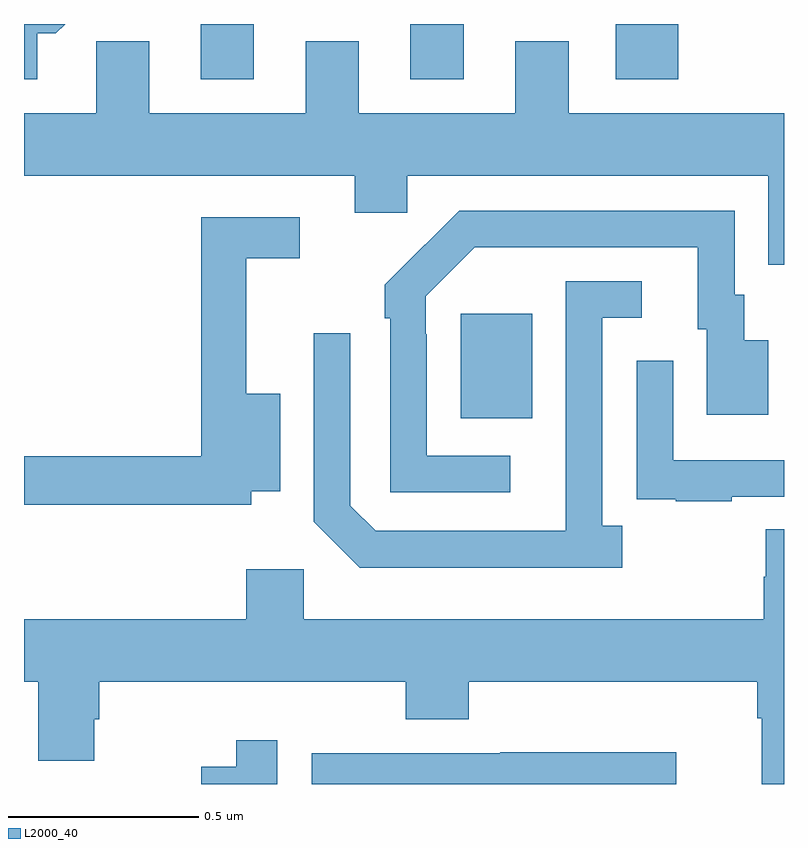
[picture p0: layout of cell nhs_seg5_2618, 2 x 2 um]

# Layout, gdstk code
import gdstk
lib = gdstk.Library(unit=1e-6, precision=1e-09)
def R(c, l, rs):  # rectangles x0, y0, x1, y1
    for r in rs: c.add(gdstk.rectangle(r[:2], r[2:], *l))
def P(c, l, *ps):  # polygons
    for p in ps: c.add(gdstk.Polygon(p, *l))
L2000_40 = (2000, 40)

nhs_seg5_2618 = lib.new_cell('nhs_seg5_2618')
R(nhs_seg5_2618, L2000_40, [(147.149,882.761,147.337,883.036), (146.465,883.653,146.605,883.799), (147.017,883.653,147.157,883.799), (147.557,883.653,147.722,883.799)])
P(nhs_seg5_2618, L2000_40, [(146.035,883.775),(146.084,883.775),(146.108,883.799),(146,883.799),(146,883.653),(146.035,883.653)],
  [(148,883.564),(147.433,883.564),(147.433,883.754),(147.293,883.754),(147.293,883.564),(146.881,883.564),(146.881,883.754),(146.741,883.754),(146.741,883.564),(146.329,883.564),(146.329,883.754),(146.19,883.754),(146.19,883.564),(146,883.564),(146,883.4),(146.87,883.4),(146.87,883.302),(147.009,883.302),(147.009,883.4),(147.959,883.4),(147.959,883.165),(148,883.165)],
  [(147.28,882.663),(147.06,882.663),(147.06,882.983),(147.057,882.983),(147.057,883.083),(147.186,883.212),(147.773,883.212),(147.773,882.996),(147.797,882.996),(147.797,882.771),(147.958,882.771),(147.958,882.967),(147.895,882.967),(147.895,883.086),(147.87,883.086),(147.87,883.308),(147.146,883.308),(147.055,883.217),(147.054,883.218),(146.949,883.113),(146.949,883.025),(146.964,883.025),(146.964,882.567),(147.28,882.567)],
  [(146.598,882.569),(146.674,882.569),(146.674,882.826),(146.585,882.826),(146.585,883.182),(146.725,883.182),(146.725,883.29),(146.467,883.29),(146.467,882.662),(146,882.662),(146,882.534),(146.598,882.534)],
  [(147.574,882.478),(147.522,882.478),(147.522,883.026),(147.625,883.026),(147.625,883.122),(147.426,883.122),(147.426,882.665),(147.425,882.665),(147.425,882.465),(146.925,882.465),(146.859,882.531),(146.859,882.985),(146.763,882.985),(146.763,882.489),(146.884,882.368),(147.574,882.368)],
  [(147.863,882.555),(148,882.555),(148,882.651),(147.708,882.651),(147.708,882.913),(147.612,882.913),(147.612,882.658),(147.613,882.658),(147.613,882.549),(147.715,882.549),(147.715,882.543),(147.863,882.543)],
  [(148,882.47),(147.952,882.47),(147.952,882.345),(147.947,882.345),(147.947,882.232),(146.736,882.232),(146.736,882.364),(146.585,882.364),(146.585,882.232),(146,882.232),(146,882.068),(146.038,882.068),(146.038,881.86),(146.185,881.86),(146.185,881.97),(146.198,881.97),(146.198,882.068),(147.005,882.068),(147.005,881.969),(147.17,881.969),(147.17,882.068),(147.929,882.068),(147.929,881.972),(147.941,881.972),(147.941,881.799),(148,881.799)],
  [(146.667,881.914),(146.559,881.914),(146.559,881.844),(146.466,881.844),(146.466,881.799),(146.667,881.799)],
  [(147.717,881.882),(147.253,881.882),(147.253,881.88),(146.757,881.88),(146.757,881.799),(147.717,881.799)])

lib.write_gds('nhs_seg5_2618.gds')
